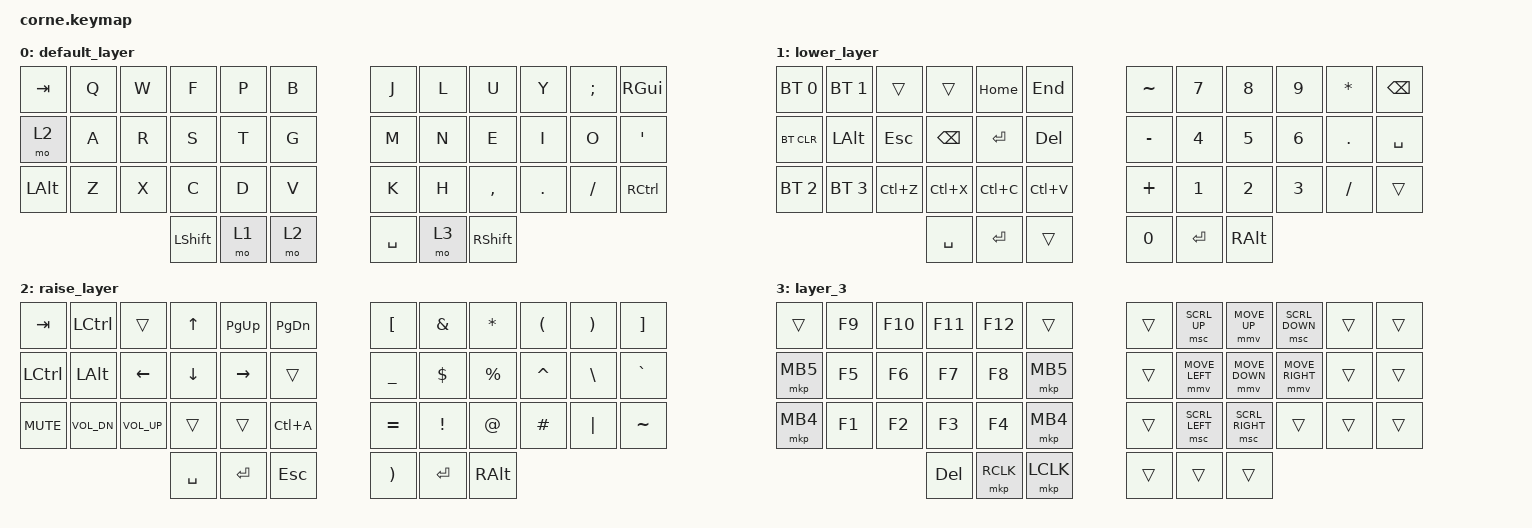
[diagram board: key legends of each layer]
/*
 * Copyright (c) 2020 The ZMK Contributors
 *
 * SPDX-License-Identifier: MIT
 */

#include <behaviors.dtsi>
#include <dt-bindings/zmk/bt.h>
#include <dt-bindings/zmk/keys.h>
#include <dt-bindings/zmk/pointing.h>

/ {
    keymap {
        compatible = "zmk,keymap";

        default_layer {
            // -----------------------------------------------------------------------------------------
            // |  TAB |  Q  |  W  |  E  |  R  |  T  |   |  Y  |  U   |  I  |  O  |  P  | BKSP |
            // | CTRL |  A  |  S  |  D  |  F  |  G  |   |  H  |  J   |  K  |  L  |  ;  |  '   |
            // | SHFT |  Z  |  X  |  C  |  V  |  B  |   |  N  |  M   |  ,  |  .  |  /  | ESC  |
            //                    | GUI | LWR | SPC |   | ENT | RSE  | ALT |

            bindings = <
&kp TAB       &kp Q  &kp W  &kp F           &kp P  &kp B    &kp J      &kp L  &kp U            &kp Y    &kp SEMICOLON  &kp RGUI
&mo 2         &kp A  &kp R  &kp S           &kp T  &kp G    &kp M      &kp N  &kp E            &kp I    &kp O          &kp SQT
&kp LEFT_ALT  &kp Z  &kp X  &kp C           &kp D  &kp V    &kp K      &kp H  &kp COMMA        &kp DOT  &kp FSLH       &kp RCTRL
                            &kp LEFT_SHIFT  &mo 1  &mo 2    &kp SPACE  &mo 3  &kp RIGHT_SHIFT
            >;
        };

        lower_layer {
            // -----------------------------------------------------------------------------------------
            // |  TAB |  1  |  2  |  3  |  4  |  5  |   |  6  |  7  |  8  |  9  |  0  | BKSP |
            // | BTCLR| BT1 | BT2 | BT3 | BT4 | BT5 |   | LFT | DWN |  UP | RGT |     |      |
            // | SHFT |     |     |     |     |     |   |     |     |     |     |     |      |
            //                    | GUI |     | SPC |   | ENT |     | ALT |

            bindings = <
&bt BT_SEL 0  &bt BT_SEL 1  &trans     &trans         &kp HOME   &kp END       &kp TILDE  &kp N7        &kp N8        &kp N9        &kp ASTERISK  &kp BSPC
&bt BT_CLR    &kp LEFT_ALT  &kp ESC    &kp BACKSPACE  &kp ENTER  &kp DELETE    &kp MINUS  &kp NUMBER_4  &kp N5        &kp NUMBER_6  &kp PERIOD    &kp SPACE
&bt BT_SEL 2  &bt BT_SEL 3  &kp LC(Z)  &kp LC(X)      &kp LC(C)  &kp LC(V)     &kp PLUS   &kp NUMBER_1  &kp NUMBER_2  &kp NUMBER_3  &kp SLASH     &trans
                                       &kp SPACE      &kp ENTER  &trans        &kp N0     &kp ENTER     &kp RALT
            >;
        };

        raise_layer {
            // -----------------------------------------------------------------------------------------
            // |  TAB |  !  |  @  |  #  |  $  |  %  |   |  ^  |  &  |  *  |  (  |  )  | BKSP |
            // | CTRL |     |     |     |     |     |   |  -  |  =  |  [  |  ]  |  \  |  `   |
            // | SHFT |     |     |     |     |     |   |  _  |  +  |  {  |  }  | "|" |  ~   |
            //                    | GUI |     | SPC |   | ENT |     | ALT |

            bindings = <
&kp TAB     &kp LCTRL     &trans           &kp UP_ARROW  &kp PAGE_UP  &kp PAGE_DOWN    &kp LEFT_BRACKET       &kp AMPS         &kp ASTRK    &kp LPAR   &kp RPAR  &kp RIGHT_BRACKET
&kp LCTRL   &kp LEFT_ALT  &kp LEFT         &kp DOWN      &kp RIGHT    &trans           &kp UNDERSCORE         &kp DOLLAR       &kp PERCENT  &kp CARET  &kp BSLH  &kp GRAVE
&kp C_MUTE  &kp C_VOL_DN  &kp C_VOLUME_UP  &trans        &trans       &kp LC(A)        &kp EQUAL              &kp EXCLAMATION  &kp AT_SIGN  &kp HASH   &kp PIPE  &kp TILDE
                                           &kp SPACE     &kp ENTER    &kp ESC          &kp RIGHT_PARENTHESIS  &kp ENTER        &kp RALT
            >;
        };

        layer_3 {
            bindings = <
&trans    &kp F9  &kp F10  &kp F11     &kp F12    &trans       &trans  &msc SCRL_UP    &mmv MOVE_UP     &msc SCRL_DOWN   &trans  &trans
&mkp MB5  &kp F5  &kp F6   &kp F7      &kp F8     &mkp MB5     &trans  &mmv MOVE_LEFT  &mmv MOVE_DOWN   &mmv MOVE_RIGHT  &trans  &trans
&mkp MB4  &kp F1  &kp F2   &kp F3      &kp F4     &mkp MB4     &trans  &msc SCRL_LEFT  &msc SCRL_RIGHT  &trans           &trans  &trans
                           &kp DELETE  &mkp RCLK  &mkp LCLK    &trans  &trans          &trans
            >;
        };
    };
};
